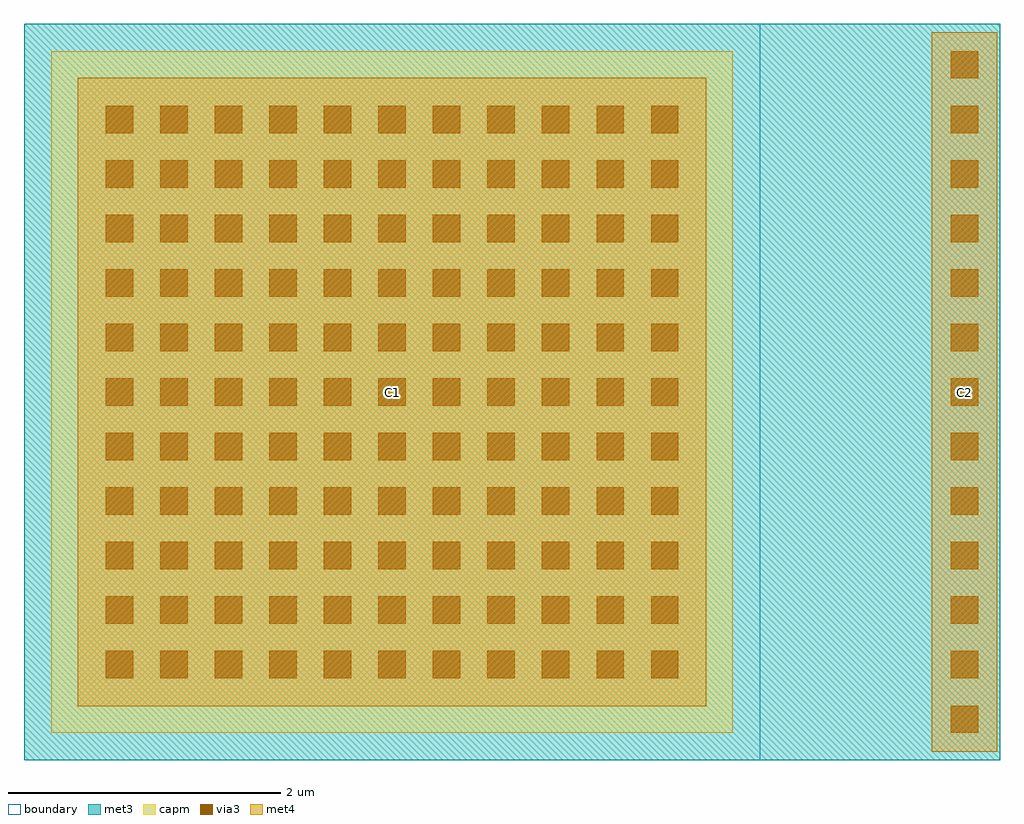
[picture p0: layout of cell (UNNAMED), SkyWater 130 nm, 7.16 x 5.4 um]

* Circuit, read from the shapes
.subckt (UNNAMED) C1 C2
XC1 C1 C2 sky130_fd_pr__cap_mim_m3_1 w=5 l=5
.ends

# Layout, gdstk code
import gdstk
lib = gdstk.Library(unit=1e-6, precision=1e-09)
def R(c, l, rs):  # rectangles x0, y0, x1, y1
    for r in rs: c.add(gdstk.rectangle(r[:2], r[2:], *l))
def A(c, l, x, y, w, h, nx, ny, dx, dy):  # array of equal rectangles
    R(c, l, [(x+i*dx, y+j*dy, x+i*dx+w, y+j*dy+h) for i in range(nx) for j in range(ny)])
met3 = (70, 20)
via3 = (70, 44)
met4 = (71, 20)
capm = (89, 44)
boundary = (235, 4)

c__unnamed_ = lib.new_cell('(UNNAMED)')
R(c__unnamed_, met3, [(-3.58,-2.7,3.58,2.7)])
A(c__unnamed_, via3, 3.22, -2.5, 0.2, 0.2, 1, 13, 0, 0.4)
A(c__unnamed_, via3, -2.98, -2.1, 0.2, 0.2, 11, 11, 0.4, 0.4)
R(c__unnamed_, met4, [(3.08,-2.64,3.56,2.64), (-3.185,-2.305,1.425,2.305)])
R(c__unnamed_, capm, [(-3.38,-2.5,1.62,2.5)])
R(c__unnamed_, boundary, [(-3.58,-2.7,1.82,2.7)])
c__unnamed_.add(gdstk.Label('C2', (3.32,0), layer=71, texttype=5))
c__unnamed_.add(gdstk.Label('C1', (-0.88,0), layer=71, texttype=5))

lib.write_gds('_UNNAMED_.gds')
